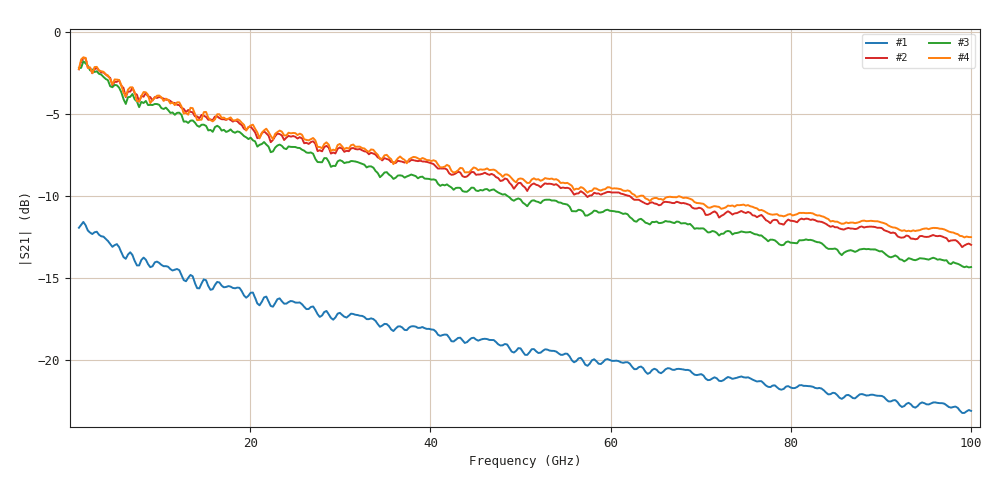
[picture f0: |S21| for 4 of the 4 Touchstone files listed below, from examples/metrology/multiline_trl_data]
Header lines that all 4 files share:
!Created with skrf (http://scikit-rf.org).
# GHz S RI R 50.0
!freq ReS11 ImS11 ReS21 ImS21 ReS12 ImS12 ReS22 ImS22
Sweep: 1 GHz to 100 GHz
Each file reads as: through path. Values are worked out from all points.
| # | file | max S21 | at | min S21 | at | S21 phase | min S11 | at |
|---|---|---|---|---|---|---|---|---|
| 1 | DUT.s2p | -11.56 dB | 1.495 GHz | -23.2 dB | 99.26 GHz | -27 deg at 50.5 GHz | -51.4 dB | 2.237 GHz |
| 2 | line2p3mm.s2p | -1.57 dB | 1.495 GHz | -13.1 dB | 99.01 GHz | 86 deg at 50.5 GHz | -45.8 dB | 56.19 GHz |
| 3 | line10mm.s2p | -1.76 dB | 1.495 GHz | -14.3 dB | 99.75 GHz | -66 deg at 50.5 GHz | -45.7 dB | 24.27 GHz |
| 4 | linep3mm.s2p | -1.52 dB | 1.495 GHz | -12.5 dB | 99.26 GHz | 46 deg at 50.5 GHz | -48.8 dB | 39.86 GHz |
